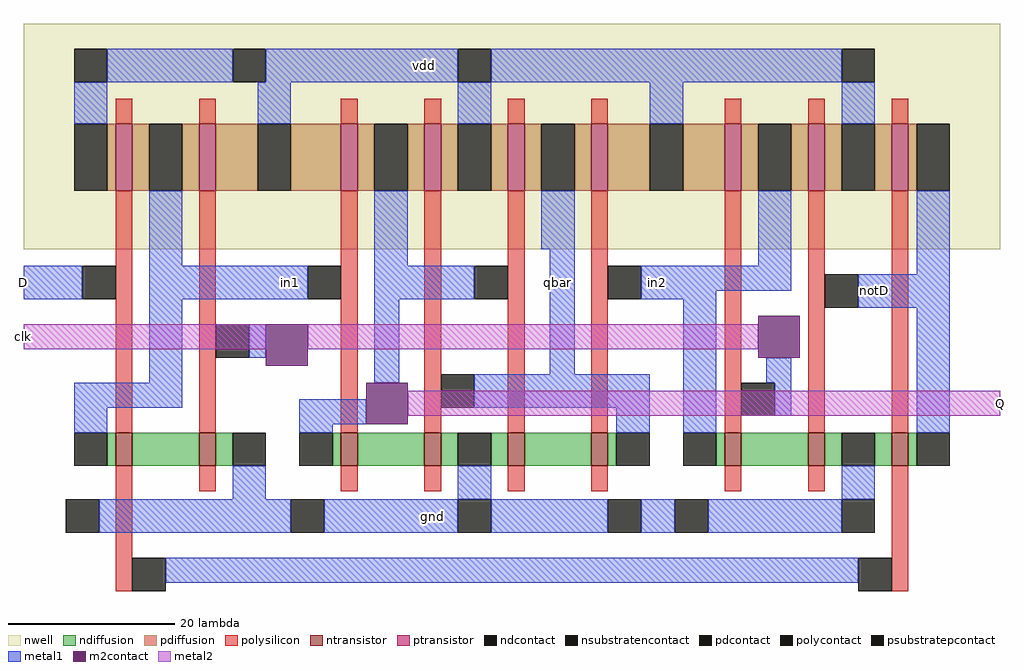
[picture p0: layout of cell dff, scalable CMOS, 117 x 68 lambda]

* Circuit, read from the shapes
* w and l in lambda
.subckt dff D Q clk gnd in1 in2 notD qbar vdd
M1 n1 D in1 gnd nfet w=4 l=2
M2 gnd clk n1 gnd nfet w=4 l=2
M3 n2 in1 Q gnd nfet w=4 l=2
M4 gnd qbar n2 gnd nfet w=4 l=2
M5 n3 Q gnd gnd nfet w=4 l=2
M6 qbar in2 n3 gnd nfet w=4 l=2
M7 n4 clk in2 gnd nfet w=4 l=2
M8 gnd notD n4 gnd nfet w=4 l=2
M9 notD D gnd gnd nfet w=4 l=2
M10 in1 D vdd vdd pfet w=8 l=2
M11 vdd clk in1 vdd pfet w=8 l=2
M12 Q in1 vdd vdd pfet w=8 l=2
M13 vdd qbar Q vdd pfet w=8 l=2
M14 qbar Q vdd vdd pfet w=8 l=2
M15 vdd in2 qbar vdd pfet w=8 l=2
M16 in2 clk vdd vdd pfet w=8 l=2
M17 vdd notD in2 vdd pfet w=8 l=2
M18 notD D vdd vdd pfet w=8 l=2
.ends

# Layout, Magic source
magic
tech scmos
<< nwell >>
rect -54 0 63 27
<< ntransistor >>
rect -43 -26 -41 -22
rect -33 -26 -31 -22
rect -16 -26 -14 -22
rect -6 -26 -4 -22
rect 4 -26 6 -22
rect 14 -26 16 -22
rect 30 -26 32 -22
rect 40 -26 42 -22
rect 50 -26 52 -22
<< ptransistor >>
rect -43 7 -41 15
rect -33 7 -31 15
rect -16 7 -14 15
rect -6 7 -4 15
rect 4 7 6 15
rect 14 7 16 15
rect 30 7 32 15
rect 40 7 42 15
rect 50 7 52 15
<< ndiffusion >>
rect -44 -26 -43 -22
rect -41 -26 -33 -22
rect -31 -26 -29 -22
rect -17 -26 -16 -22
rect -14 -26 -6 -22
rect -4 -26 -2 -22
rect 2 -26 4 -22
rect 6 -26 14 -22
rect 16 -26 17 -22
rect 29 -26 30 -22
rect 32 -26 40 -22
rect 42 -26 44 -22
rect 48 -26 50 -22
rect 52 -26 53 -22
<< pdiffusion >>
rect -44 7 -43 15
rect -41 7 -39 15
rect -35 7 -33 15
rect -31 7 -26 15
rect -22 7 -16 15
rect -14 7 -12 15
rect -8 7 -6 15
rect -4 7 -2 15
rect 2 7 4 15
rect 6 7 8 15
rect 12 7 14 15
rect 16 7 21 15
rect 25 7 30 15
rect 32 7 34 15
rect 38 7 40 15
rect 42 7 44 15
rect 48 7 50 15
rect 52 7 53 15
<< ndcontact >>
rect -48 -26 -44 -22
rect -29 -26 -25 -22
rect -21 -26 -17 -22
rect -2 -26 2 -22
rect 17 -26 21 -22
rect 25 -26 29 -22
rect 44 -26 48 -22
rect 53 -26 57 -22
<< pdcontact >>
rect -48 7 -44 15
rect -39 7 -35 15
rect -26 7 -22 15
rect -12 7 -8 15
rect -2 7 2 15
rect 8 7 12 15
rect 21 7 25 15
rect 34 7 38 15
rect 44 7 48 15
rect 53 7 57 15
<< psubstratepcontact >>
rect -49 -34 -45 -30
rect -22 -34 -18 -30
rect -2 -34 2 -30
rect 16 -34 20 -30
rect 24 -34 28 -30
rect 44 -34 48 -30
<< nsubstratencontact >>
rect -48 20 -44 24
rect -29 20 -25 24
rect -2 20 2 24
rect 44 20 48 24
<< polysilicon >>
rect -43 15 -41 18
rect -33 15 -31 18
rect -16 15 -14 18
rect -6 15 -4 18
rect 4 15 6 18
rect 14 15 16 18
rect 30 15 32 18
rect 40 15 42 18
rect 50 15 52 18
rect -43 -22 -41 7
rect -33 -22 -31 7
rect -16 -22 -14 7
rect -6 -22 -4 7
rect 4 -22 6 7
rect 14 -22 16 7
rect 30 -22 32 7
rect 40 -22 42 7
rect 50 -22 52 7
rect -43 -41 -41 -26
rect -33 -29 -31 -26
rect -16 -29 -14 -26
rect -6 -29 -4 -26
rect 4 -29 6 -26
rect 14 -29 16 -26
rect 30 -29 32 -26
rect 40 -29 42 -26
rect 50 -41 52 -26
<< polycontact >>
rect -47 -6 -43 -2
rect -20 -6 -16 -2
rect -31 -13 -27 -9
rect 0 -6 4 -2
rect -4 -19 0 -15
rect 16 -6 20 -2
rect 32 -20 36 -16
rect 42 -7 46 -3
rect -41 -41 -37 -37
rect 46 -41 50 -37
<< metal1 >>
rect -44 20 -29 24
rect -25 20 -2 24
rect 2 20 44 24
rect -48 15 -44 20
rect -26 15 -22 20
rect -2 15 2 20
rect 21 15 25 20
rect 44 15 48 20
rect -39 -2 -35 7
rect -12 -2 -8 7
rect 8 0 12 7
rect -54 -6 -47 -2
rect -39 -6 -20 -2
rect -12 -6 0 -2
rect -39 -16 -35 -6
rect -27 -13 -25 -9
rect -12 -16 -9 -6
rect 9 -15 12 0
rect 34 -2 38 7
rect 20 -5 38 -2
rect 53 -3 57 7
rect 20 -6 29 -5
rect -48 -19 -35 -16
rect -48 -22 -44 -19
rect -21 -21 -13 -18
rect 0 -19 21 -15
rect -21 -22 -17 -21
rect 17 -22 21 -19
rect 25 -22 29 -6
rect 46 -7 57 -3
rect 35 -16 38 -13
rect 36 -20 38 -16
rect 53 -22 57 -7
rect -29 -30 -25 -26
rect -2 -30 2 -26
rect 44 -30 48 -26
rect -45 -34 -22 -30
rect -18 -34 -2 -30
rect 2 -34 16 -30
rect 20 -34 24 -30
rect 28 -34 44 -30
rect -37 -40 46 -37
<< m2contact >>
rect -25 -14 -20 -9
rect -13 -21 -8 -16
rect 34 -13 39 -8
<< metal2 >>
rect -54 -12 -25 -9
rect -20 -12 34 -9
rect -8 -20 63 -17
<< labels >>
rlabel metal1 -6 22 -6 22 5 vdd
rlabel metal1 -5 -32 -5 -32 1 gnd
rlabel metal1 -22 -6 -22 -2 3 in1
rlabel metal1 22 -6 22 -2 1 in2
rlabel metal1 48 -7 48 -3 1 notD
rlabel metal2 -54 -12 -54 -9 3 clk
rlabel metal1 -54 -6 -54 -2 3 D
rlabel metal2 63 -20 63 -17 7 Q
rlabel metal1 10 -4 10 -4 1 qbar
<< end >>
